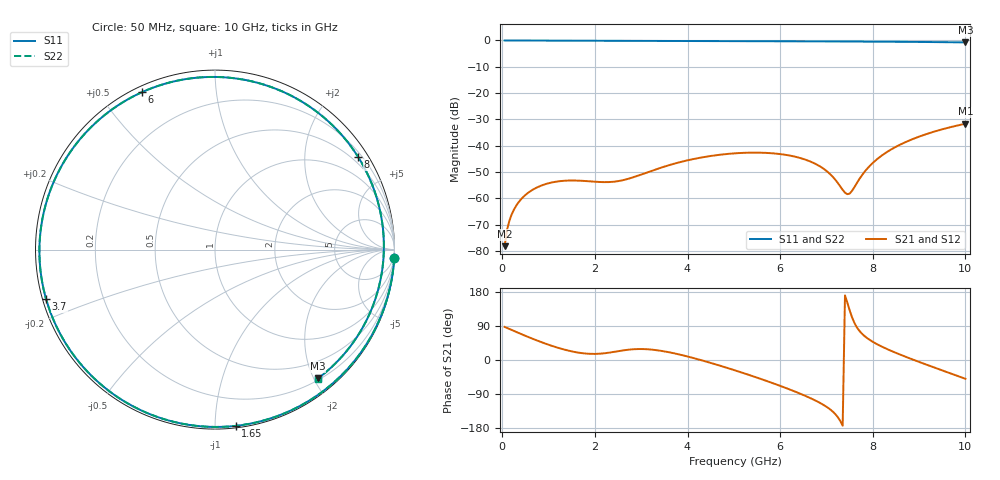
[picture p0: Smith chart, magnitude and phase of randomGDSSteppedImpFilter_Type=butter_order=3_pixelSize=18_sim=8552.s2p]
! freq	dB(S11)	phase(S11)	dB(S12)	phase(S12)
!  dB(S21)	phase(S21)	dB(S22)	phase(S22)
!S-par simulation data
#  GHz  S  DB  R 50
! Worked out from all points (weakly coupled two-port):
!   200 points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, 50 MHz to 10 GHz, reference 50 ohm
!   highest |S21| = -31.66 dB at 10 GHz (marker M1); lowest = -78.2 dB at 50 MHz (marker M2)
!   lowest |S11| = -0.7 dB at 10 GHz (marker M3), VSWR 23.63, Z = 11.2 - j103 ohm
!   |S11| at or under -10 dB: nowhere
!   |S22| runs from -0.7 to 0.0 dB; largest |S21 - S12| = 0
!   S11 on the Smith chart (normalised r, x): 50 MHz: 0, -42; 1.65 GHz: 0.01, -1.13; 3.7 GHz: 0.01, -0.14; 6 GHz: 0.02, +0.64; 8 GHz: 0.32, +3.36; 10 GHz: 0.22, -2.06
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0.05  -0.00 -2.7  -78.18 87.3  -78.18 87.3  -0.00 -2.7
0.1  -0.01 -5.4  -72.18 84.7  -72.18 84.7  -0.01 -5.4
0.2  -0.02 -10.8  -66.22 79.3  -66.22 79.3  -0.02 -10.8
0.35  -0.03 -18.8  -61.54 71.4  -61.54 71.4  -0.03 -18.8
0.5  -0.04 -26.7  -58.71 63.7  -58.71 63.7  -0.04 -26.7
1.1  -0.07 -57.3  -53.86 36.1  -53.86 36.1  -0.07 -57.3
1.65  -0.10 -83.2  -53.27 19.3  -53.27 19.3  -0.10 -83.3
1.75  -0.10 -87.7  -53.36 17.6  -53.36 17.6  -0.10 -87.7
2.5  -0.13 -119.2  -53.47 23.2  -53.47 23.2  -0.13 -119.2
3.4  -0.16 -152.9  -48.51 24.7  -48.51 24.7  -0.16 -153.0
3.7  -0.17 -163.6  -46.90 17.9  -46.90 17.9  -0.17 -163.6
4.35  -0.20 173.8  -44.33 -2.3  -44.33 -2.3  -0.20 173.8
5.05  -0.24 149.5  -42.86 -28.3  -42.86 -28.3  -0.24 149.4
6  -0.29 115.0  -43.18 -68.2  -43.18 -68.2  -0.29 114.9
6.7  -0.34 87.7  -46.38 -103.3  -46.38 -103.3  -0.34 87.7
7.05  -0.37 73.4  -50.33 -127.6  -50.33 -127.6  -0.37 73.4
7.45  -0.40 56.6  -58.42 151.7  -58.42 151.7  -0.40 56.6
7.55  -0.41 52.4  -57.21 113.3  -57.21 113.3  -0.41 52.3
8  -0.45 32.9  -46.55 48.0  -46.55 48.0  -0.45 32.9
8.35  -0.48 17.7  -41.92 26.6  -41.92 26.6  -0.48 17.6
9.1  -0.58 -14.7  -35.93 -9.6  -35.93 -9.6  -0.58 -14.8
10  -0.74 -51.4  -31.66 -49.6  -31.66 -49.6  -0.74 -51.5
